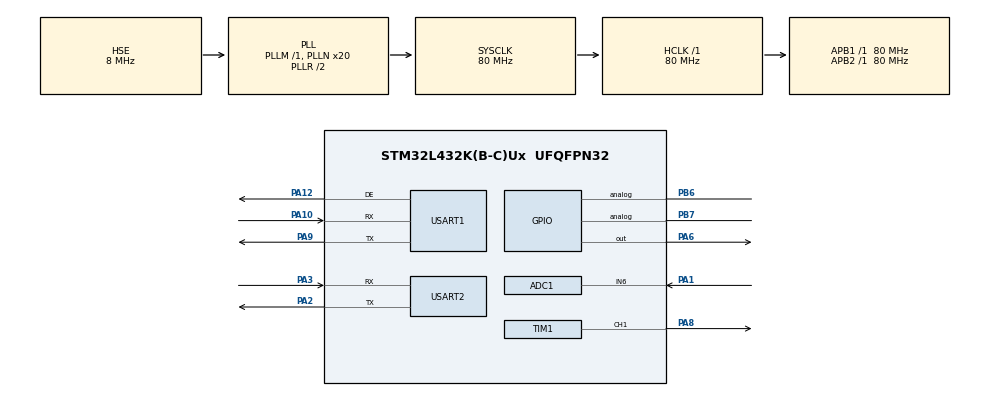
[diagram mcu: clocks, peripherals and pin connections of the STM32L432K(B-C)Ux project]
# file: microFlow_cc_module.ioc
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ADC1.Channel-0\#ChannelRegularConversion=ADC_CHANNEL_6
ADC1.NbrOfConversionFlag=1
ADC1.OffsetNumber-0\#ChannelRegularConversion=ADC_OFFSET_NONE
ADC1.Rank-0\#ChannelRegularConversion=1
ADC1.SamplingTime-0\#ChannelRegularConversion=ADC_SAMPLETIME_2CYCLES_5
ADC1.master=1
FREERTOS.Tasks01=defaultTask,0,128,StartDefaultTask,Default,NULL,Dynamic,NULL,NULL;atuoFlowTask,-3,256,StartFlowTask,Default,NULL,Dynamic,NULL,NULL;modbusTask,-3,256,StartModbusTask,Default,NULL,Dynamic,NULL,NULL
Mcu.Family=STM32L4
Mcu.Name=STM32L432K(B-C)Ux
Mcu.Package=UFQFPN32
NVIC.PriorityGroup=NVIC_PRIORITYGROUP_4
NVIC.TIM1_UP_TIM16_IRQn=true\:5\:0\:false\:false\:true\:true\:true\:true\:true
NVIC.TIM7_IRQn=true\:5\:0\:false\:false\:true\:true\:true\:true\:true
NVIC.USART1_IRQn=true\:5\:0\:false\:false\:true\:true\:true\:true\:true
NVIC.USART2_IRQn=true\:5\:0\:false\:false\:true\:true\:true\:true\:true
PA0.Mode=HSE-External-Clock-Source-for-LittleOrca
PA0.Signal=RCC_CK_IN
PA1.Signal=ADCx_IN6
PA10.Mode=Asynchronous
PA10.Signal=USART1_RX
PA12.Mode=Hardware Flow Control (RS485)
PA12.Signal=USART1_DE
PA13\ (JTMS-SWDIO).Mode=Serial_Wire
PA13\ (JTMS-SWDIO).Signal=SYS_JTMS-SWDIO
PA14\ (JTCK-SWCLK).Mode=Serial_Wire
PA14\ (JTCK-SWCLK).Signal=SYS_JTCK-SWCLK
PA2.Mode=Asynchronous
PA2.Signal=USART2_TX
PA3.Mode=Asynchronous
PA3.Signal=USART2_RX
PA6.Signal=GPIO_Output
PA8.Signal=S_TIM1_CH1
PA9.Mode=Asynchronous
PA9.Signal=USART1_TX
PB6.Signal=GPIO_Analog
PB7.Signal=GPIO_Analog
ProjectManager.HeapSize=0x200
ProjectManager.StackSize=0x400
ProjectManager.TargetToolchain=STM32CubeIDE
RCC.ADCFreq_Value=32000000
RCC.AHBFreq_Value=80000000
RCC.APB1Freq_Value=80000000
RCC.APB1TimFreq_Value=80000000
RCC.APB2Freq_Value=80000000
RCC.APB2TimFreq_Value=80000000
RCC.CortexFreq_Value=80000000
RCC.HCLKFreq_Value=80000000
RCC.HSE_VALUE=8000000
RCC.HSI48_VALUE=48000000
RCC.HSI_VALUE=16000000
RCC.LSE_VALUE=32768
RCC.MSI_VALUE=4000000
RCC.PLLN=20
RCC.PLLSourceVirtual=RCC_PLLSOURCE_HSE
RCC.SYSCLKFreq_VALUE=80000000
RCC.SYSCLKSource=RCC_SYSCLKSOURCE_PLLCLK
RCC.USBFreq_Value=32000000
RCC.VCOOutputFreq_Value=160000000
SH.ADCx_IN6.0=ADC1_IN6,IN6-Single-Ended
SH.S_TIM1_CH1.0=TIM1_CH1,PWM Generation1 CH1
TIM1.AutoReloadPreload=TIM_AUTORELOAD_PRELOAD_ENABLE
TIM1.Channel-PWM\ Generation1\ CH1=TIM_CHANNEL_1
TIM1.Period=39999
TIM1.Prescaler=1
TIM16.AutoReloadPreload=TIM_AUTORELOAD_PRELOAD_ENABLE
TIM16.Period=1000
TIM16.Prescaler=8000-1
TIM7.Period=80-1
TIM7.Prescaler=4000-1
TIM7.TIM_MasterOutputTrigger=TIM_TRGO_UPDATE
USART1.VirtualMode-Asynchronous=VM_ASYNC
USART1.VirtualMode-Hardware\ Flow\ Control\ (RS485)=VM_ASYNC
USART2.VirtualMode-Asynchronous=VM_ASYNC
VP_FREERTOS_VS_CMSIS_V1.Mode=CMSIS_V1
VP_TIM16_VS_ClockSourceINT.Mode=Enable_Timer
VP_TIM7_VS_ClockSourceINT.Mode=Enable_Timer
board=custom

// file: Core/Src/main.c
/* USER CODE BEGIN Header */
/**
  ******************************************************************************
  * @file           : main.c
  * @brief          : Main program body
  ******************************************************************************
  * @attention
  *
  * Copyright (c) 2026 STMicroelectronics.
  * All rights reserved.
  *
  * This software is licensed under terms that can be found in the LICENSE file
  * in the root directory of this software component.
  * If no LICENSE file comes with this software, it is provided AS-IS.
  *
  ******************************************************************************
  */
/* USER CODE END Header */
#include "main.h"
#include "cmsis_os.h"

/* USER CODE BEGIN Includes */
#include "modbus.h"
#include "app.h"
#include "pid.h"
#include "flow_ramp.h"
#include "parameter_storage.h"
#include "flow_scale.h"
#include <math.h>
#include <string.h>
/* USER CODE END Includes */

/* USER CODE BEGIN PD */

#define FLOW_ADC_VREF_V          3.3f
#define FLOW_ADC_FULL_SCALE      4095.0f
#define FLOW_ADC_ERROR_VALUE     (-1.0f)

/* ---- 恒流闭环参数(依据附录A实测整定) ---- */
#define FLOW_TASK_PERIOD_MS      100U                            /* 控制周期 ms */
#define FLOW_TASK_DT_S           (FLOW_TASK_PERIOD_MS / 1000.0f) /* 控制周期 s */
#define FLOW_ADC_SAMPLE_COUNT    20U     /* ADC中值滤波固定采样次数 */
#define FLOW_PID_OUT_MIN         20.0f   /* 实测20~30%仍有响应，允许PID在此区间调节 */
#define FLOW_PID_OUT_MAX         99.0f   /* PID输出上限%(放开, 原70基于主回路分流分析) */
#define FLOW_PID_DEADBAND        0.1f    /* 死区 mL/min, 抑制阀门抖动 */
/* USER CODE END PD */

ADC_HandleTypeDef hadc1;

TIM_HandleTypeDef htim1;
TIM_HandleTypeDef htim7;
TIM_HandleTypeDef htim16;

UART_HandleTypeDef huart1;
UART_HandleTypeDef huart2;

osThreadId defaultTaskHandle;
osThreadId atuoFlowTaskHandle;
osThreadId modbusTaskHandle;

void SystemClock_Config(void);
static void MX_GPIO_Init(void);
static void MX_USART1_UART_Init(void);
static void MX_USART2_UART_Init(void);
static void MX_TIM7_Init(void);
static void MX_TIM16_Init(void);
static void MX_ADC1_Init(void);
static void MX_TIM1_Init(void);
void StartDefaultTask(void const * argument);
void StartFlowTask(void const * argument);
void StartModbusTask(void const * argument);

int main(void)
{

  /* MCU Configuration--------------------------------------------------------*/

  /* Reset of all peripherals, Initializes the Flash interface and the Systick. */
  HAL_Init();

  /* Configure the system clock */
  SystemClock_Config();

  /* Initialize all configured peripherals */
  MX_GPIO_Init();
  MX_USART1_UART_Init();
  MX_USART2_UART_Init();
  MX_TIM7_Init();
  MX_TIM16_Init();
  MX_ADC1_Init();
  MX_TIM1_Init();
  /* USER CODE BEGIN 2 */
  if (HAL_ADCEx_Calibration_Start(&hadc1, ADC_SINGLE_ENDED) != HAL_OK)
  {
    Error_Handler();
  }

  __HAL_TIM_SET_COMPARE(&htim1, TIM_CHANNEL_1, 0U);
  if (HAL_TIM_PWM_Start(&htim1, TIM_CHANNEL_1) != HAL_OK)
  {
    Error_Handler();
  }

  Modbus_Init();
  /* USER CODE END 2 */

  /* Create the thread(s) */
  /* definition and creation of defaultTask */
  osThreadDef(defaultTask, StartDefaultTask, osPriorityNormal, 0, 128);
  defaultTaskHandle = osThreadCreate(osThread(defaultTask), NULL);

  /* definition and creation of atuoFlowTask */
  osThreadDef(atuoFlowTask, StartFlowTask, osPriorityIdle, 0, 256);
  atuoFlowTaskHandle = osThreadCreate(osThread(atuoFlowTask), NULL);

  /* definition and creation of modbusTask */
  osThreadDef(modbusTask, StartModbusTask, osPriorityIdle, 0, 256);
  modbusTaskHandle = osThreadCreate(osThread(modbusTask), NULL);

  /* Start scheduler */
  osKernelStart();

  /* We should never get here as control is now taken by the scheduler */

  /* Infinite loop */
  while (1)
  {

  }
}

void SystemClock_Config(void)
{
  RCC_OscInitTypeDef RCC_OscInitStruct = {0};
  RCC_ClkInitTypeDef RCC_ClkInitStruct = {0};

  /** Configure the main internal regulator output voltage
  */
  if (HAL_PWREx_ControlVoltageScaling(PWR_REGULATOR_VOLTAGE_SCALE1) != HAL_OK)
  {
    Error_Handler();
  }

  /** Initializes the RCC Oscillators according to the specified parameters
  * in the RCC_OscInitTypeDef structure.
  */
  RCC_OscInitStruct.OscillatorType = RCC_OSCILLATORTYPE_HSE;
  RCC_OscInitStruct.HSEState = RCC_HSE_BYPASS;
  RCC_OscInitStruct.PLL.PLLState = RCC_PLL_ON;
  RCC_OscInitStruct.PLL.PLLSource = RCC_PLLSOURCE_HSE;
  RCC_OscInitStruct.PLL.PLLM = 1;
  RCC_OscInitStruct.PLL.PLLN = 20;
  RCC_OscInitStruct.PLL.PLLP = RCC_PLLP_DIV7;
  RCC_OscInitStruct.PLL.PLLQ = RCC_PLLQ_DIV2;
  RCC_OscInitStruct.PLL.PLLR = RCC_PLLR_DIV2;
  if (HAL_RCC_OscConfig(&RCC_OscInitStruct) != HAL_OK)
  {
    Error_Handler();
  }

  /** Initializes the CPU, AHB and APB buses clocks
  */
  RCC_ClkInitStruct.ClockType = RCC_CLOCKTYPE_HCLK|RCC_CLOCKTYPE_SYSCLK
                              |RCC_CLOCKTYPE_PCLK1|RCC_CLOCKTYPE_PCLK2;
  RCC_ClkInitStruct.SYSCLKSource = RCC_SYSCLKSOURCE_PLLCLK;
  RCC_ClkInitStruct.AHBCLKDivider = RCC_SYSCLK_DIV1;
  RCC_ClkInitStruct.APB1CLKDivider = RCC_HCLK_DIV1;
  RCC_ClkInitStruct.APB2CLKDivider = RCC_HCLK_DIV1;

  if (HAL_RCC_ClockConfig(&RCC_ClkInitStruct, FLASH_LATENCY_4) != HAL_OK)
  {
    Error_Handler();
  }
}

static void MX_ADC1_Init(void)
{

  ADC_ChannelConfTypeDef sConfig = {0};

  /** Common config
  */
  hadc1.Instance = ADC1;
  hadc1.Init.ClockPrescaler = ADC_CLOCK_ASYNC_DIV1;
  hadc1.Init.Resolution = ADC_RESOLUTION_12B;
  hadc1.Init.DataAlign = ADC_DATAALIGN_RIGHT;
  hadc1.Init.ScanConvMode = ADC_SCAN_DISABLE;
  hadc1.Init.EOCSelection = ADC_EOC_SINGLE_CONV;
  hadc1.Init.LowPowerAutoWait = DISABLE;
  hadc1.Init.ContinuousConvMode = DISABLE;
  hadc1.Init.NbrOfConversion = 1;
  hadc1.Init.DiscontinuousConvMode = DISABLE;
  hadc1.Init.ExternalTrigConv = ADC_SOFTWARE_START;
  hadc1.Init.ExternalTrigConvEdge = ADC_EXTERNALTRIGCONVEDGE_NONE;
  hadc1.Init.DMAContinuousRequests = DISABLE;
  hadc1.Init.Overrun = ADC_OVR_DATA_PRESERVED;
  hadc1.Init.OversamplingMode = DISABLE;
  if (HAL_ADC_Init(&hadc1) != HAL_OK)
  {
    Error_Handler();
  }

  /** Configure Regular Channel
  */
  sConfig.Channel = ADC_CHANNEL_6;
  sConfig.Rank = ADC_REGULAR_RANK_1;
  sConfig.SamplingTime = ADC_SAMPLETIME_2CYCLES_5;
  sConfig.SingleDiff = ADC_SINGLE_ENDED;
  sConfig.OffsetNumber = ADC_OFFSET_NONE;
  sConfig.Offset = 0;
  if (HAL_ADC_ConfigChannel(&hadc1, &sConfig) != HAL_OK)
  {
    Error_Handler();
  }

}

static void MX_TIM1_Init(void)
{

  TIM_MasterConfigTypeDef sMasterConfig = {0};
  TIM_OC_InitTypeDef sConfigOC = {0};
  TIM_BreakDeadTimeConfigTypeDef sBreakDeadTimeConfig = {0};

  htim1.Instance = TIM1;
  htim1.Init.Prescaler = 1;
  htim1.Init.CounterMode = TIM_COUNTERMODE_UP;
  htim1.Init.Period = 39999;
  htim1.Init.ClockDivision = TIM_CLOCKDIVISION_DIV1;
  htim1.Init.RepetitionCounter = 0;
  htim1.Init.AutoReloadPreload = TIM_AUTORELOAD_PRELOAD_ENABLE;
  if (HAL_TIM_PWM_Init(&htim1) != HAL_OK)
  {
    Error_Handler();
  }
  sMasterConfig.MasterOutputTrigger = TIM_TRGO_RESET;
  sMasterConfig.MasterOutputTrigger2 = TIM_TRGO2_RESET;
  sMasterConfig.MasterSlaveMode = TIM_MASTERSLAVEMODE_DISABLE;
  if (HAL_TIMEx_MasterConfigSynchronization(&htim1, &sMasterConfig) != HAL_OK)
  {
    Error_Handler();
  }
  sConfigOC.OCMode = TIM_OCMODE_PWM1;
  sConfigOC.Pulse = 0;
  sConfigOC.OCPolarity = TIM_OCPOLARITY_HIGH;
  sConfigOC.OCNPolarity = TIM_OCNPOLARITY_HIGH;
  sConfigOC.OCFastMode = TIM_OCFAST_DISABLE;
  sConfigOC.OCIdleState = TIM_OCIDLESTATE_RESET;
  sConfigOC.OCNIdleState = TIM_OCNIDLESTATE_RESET;
  if (HAL_TIM_PWM_ConfigChannel(&htim1, &sConfigOC, TIM_CHANNEL_1) != HAL_OK)
  {
    Error_Handler();
  }
  sBreakDeadTimeConfig.OffStateRunMode = TIM_OSSR_DISABLE;
  sBreakDeadTimeConfig.OffStateIDLEMode = TIM_OSSI_DISABLE;
  sBreakDeadTimeConfig.LockLevel = TIM_LOCKLEVEL_OFF;
  sBreakDeadTimeConfig.DeadTime = 0;
  sBreakDeadTimeConfig.BreakState = TIM_BREAK_DISABLE;
  sBreakDeadTimeConfig.BreakPolarity = TIM_BREAKPOLARITY_HIGH;
  sBreakDeadTimeConfig.BreakFilter = 0;
  sBreakDeadTimeConfig.Break2State = TIM_BREAK2_DISABLE;
  sBreakDeadTimeConfig.Break2Polarity = TIM_BREAK2POLARITY_HIGH;
  sBreakDeadTimeConfig.Break2Filter = 0;
  sBreakDeadTimeConfig.AutomaticOutput = TIM_AUTOMATICOUTPUT_DISABLE;
  if (HAL_TIMEx_ConfigBreakDeadTime(&htim1, &sBreakDeadTimeConfig) != HAL_OK)
  {
    Error_Handler();
  }
  HAL_TIM_MspPostInit(&htim1);

}

static void MX_TIM7_Init(void)
{

  TIM_MasterConfigTypeDef sMasterConfig = {0};

  htim7.Instance = TIM7;
  htim7.Init.Prescaler = 4000-1;
  htim7.Init.CounterMode = TIM_COUNTERMODE_UP;
  htim7.Init.Period = 80-1;
  htim7.Init.AutoReloadPreload = TIM_AUTORELOAD_PRELOAD_DISABLE;
  if (HAL_TIM_Base_Init(&htim7) != HAL_OK)
  {
    Error_Handler();
  }
  sMasterConfig.MasterOutputTrigger = TIM_TRGO_UPDATE;
  sMasterConfig.MasterSlaveMode = TIM_MASTERSLAVEMODE_DISABLE;
  if (HAL_TIMEx_MasterConfigSynchronization(&htim7, &sMasterConfig) != HAL_OK)
  {
    Error_Handler();
  }

}

static void MX_TIM16_Init(void)
{

  htim16.Instance = TIM16;
  htim16.Init.Prescaler = 8000-1;
  htim16.Init.CounterMode = TIM_COUNTERMODE_UP;
  htim16.Init.Period = 1000;
  htim16.Init.ClockDivision = TIM_CLOCKDIVISION_DIV1;
  htim16.Init.RepetitionCounter = 0;
  htim16.Init.AutoReloadPreload = TIM_AUTORELOAD_PRELOAD_ENABLE;
  if (HAL_TIM_Base_Init(&htim16) != HAL_OK)
  {
    Error_Handler();
  }

}

static void MX_USART1_UART_Init(void)
{

  huart1.Instance = USART1;
  huart1.Init.BaudRate = 115200;
  huart1.Init.WordLength = UART_WORDLENGTH_8B;
  huart1.Init.StopBits = UART_STOPBITS_1;
  huart1.Init.Parity = UART_PARITY_NONE;
  huart1.Init.Mode = UART_MODE_TX_RX;
  huart1.Init.HwFlowCtl = UART_HWCONTROL_NONE;
  huart1.Init.OverSampling = UART_OVERSAMPLING_16;
  huart1.Init.OneBitSampling = UART_ONE_BIT_SAMPLE_DISABLE;
  huart1.AdvancedInit.AdvFeatureInit = UART_ADVFEATURE_NO_INIT;
  if (HAL_RS485Ex_Init(&huart1, UART_DE_POLARITY_HIGH, 0, 0) != HAL_OK)
  {
    Error_Handler();
  }

}

static void MX_USART2_UART_Init(void)
{

  huart2.Instance = USART2;
  huart2.Init.BaudRate = 115200;
  huart2.Init.WordLength = UART_WORDLENGTH_8B;
  huart2.Init.StopBits = UART_STOPBITS_1;
  huart2.Init.Parity = UART_PARITY_NONE;
  huart2.Init.Mode = UART_MODE_TX_RX;
  huart2.Init.HwFlowCtl = UART_HWCONTROL_NONE;
  huart2.Init.OverSampling = UART_OVERSAMPLING_16;
  huart2.Init.OneBitSampling = UART_ONE_BIT_SAMPLE_DISABLE;
  huart2.AdvancedInit.AdvFeatureInit = UART_ADVFEATURE_NO_INIT;
  if (HAL_UART_Init(&huart2) != HAL_OK)
  {
    Error_Handler();
  }

}

static void MX_GPIO_Init(void)
{
  GPIO_InitTypeDef GPIO_InitStruct = {0};

  /* GPIO Ports Clock Enable */
  __HAL_RCC_GPIOA_CLK_ENABLE();
  __HAL_RCC_GPIOB_CLK_ENABLE();

  /*Configure GPIO pin Output Level */
  HAL_GPIO_WritePin(GPIOA, GPIO_PIN_6, GPIO_PIN_RESET);

  /*Configure GPIO pin : PA6 */
  GPIO_InitStruct.Pin = GPIO_PIN_6;
  GPIO_InitStruct.Mode = GPIO_MODE_OUTPUT_PP;
  GPIO_InitStruct.Pull = GPIO_NOPULL;
  GPIO_InitStruct.Speed = GPIO_SPEED_FREQ_LOW;
  HAL_GPIO_Init(GPIOA, &GPIO_InitStruct);

  /*Configure GPIO pins : PB6 PB7 */
  GPIO_InitStruct.Pin = GPIO_PIN_6|GPIO_PIN_7;
  GPIO_InitStruct.Mode = GPIO_MODE_ANALOG;
  GPIO_InitStruct.Pull = GPIO_NOPULL;
  HAL_GPIO_Init(GPIOB, &GPIO_InitStruct);

}

/* USER CODE BEGIN 4 */

/**
  * @author Bo
  * @date   Created: 2026-08-10
  * @date   Modified: 2026-08-10
  * @brief  Read one sample from the analog flow-meter input.
  * @param  raw Pointer used to return the 12-bit ADC result.
  * @retval HAL status.
  */
HAL_StatusTypeDef FlowAdc_ReadRaw(uint16_t *raw)
{
  HAL_StatusTypeDef status;
  HAL_StatusTypeDef stopStatus;

  if (raw == NULL)
  {
    return HAL_ERROR;
  }

  status = HAL_ADC_Start(&hadc1);
  if (status != HAL_OK)
  {
    return status;
  }

  status = HAL_ADC_PollForConversion(&hadc1, 10U);
  if (status == HAL_OK)
  {
    *raw = (uint16_t)HAL_ADC_GetValue(&hadc1);
  }

  stopStatus = HAL_ADC_Stop(&hadc1);
  if (status == HAL_OK)
  {
    status = stopStatus;
  }

  return status;
}

/**
  * @author Bo
  * @date   Created: 2026-08-10
  * @date   Modified: 2026-08-10
  * @brief  Read and average multiple ADC samples.
  * @param  num Number of samples to average; must be greater than zero.
  * @retval Average ADC code, or FLOW_ADC_ERROR_VALUE on failure.
  */
float getAdcAverage(uint16_t num)
{
  uint32_t sum = 0U;
  uint16_t raw;
  uint16_t index;

  if (num == 0U)
  {
    return FLOW_ADC_ERROR_VALUE;
  }

  for (index = 0U; index < num; index++)
  {
    if (FlowAdc_ReadRaw(&raw) != HAL_OK)
    {
      return FLOW_ADC_ERROR_VALUE;
    }

    sum += raw;
  }

  return (float)sum / (float)num;
}

/**
  * @author Bo
  * @date   Created: 2026-08-10
  * @date   Modified: 2026-08-10
  * @brief  Read the averaged voltage of the analog flow-meter input.
  * @param  num Number of ADC samples to average.
  * @retval Input voltage in volts, or FLOW_ADC_ERROR_VALUE on failure.
  */
float getAdcVoltage(uint16_t num)
{
  float adcAverage = getAdcAverage(num);

  if (adcAverage < 0.0f)
  {
    return FLOW_ADC_ERROR_VALUE;
  }

  return adcAverage * FLOW_ADC_VREF_V / FLOW_ADC_FULL_SCALE;
}

/**
  * @author Bo
  * @date   Created: 2026-08-11
  * @brief  读取流量计电压(固定20次采样 + 修剪均值滤波)
  * @retval 输入电压(V), 或 FLOW_ADC_ERROR_VALUE
  * @note   去1个最大1个最小后求平均, 比单纯均值更抗脉冲干扰;
  *         采样次数由 FLOW_ADC_SAMPLE_COUNT 固定, 不受寄存器控制
  */
float getAdcVoltageMedian(void)
{
  uint32_t sum = 0U;
  uint16_t maxv = 0U;
  uint16_t minv = 0xFFFFU;
  uint16_t raw;
  uint16_t i;

  for (i = 0U; i < FLOW_ADC_SAMPLE_COUNT; i++)
  {
    if (FlowAdc_ReadRaw(&raw) != HAL_OK)
    {
      return FLOW_ADC_ERROR_VALUE;
    }
    sum += raw;
    if (raw > maxv)
    {
      maxv = raw;
    }
    if (raw < minv)
    {
      minv = raw;
    }
  }

  /* 修剪均值: 去最大最小后平均剩余 (FLOW_ADC_SAMPLE_COUNT-2) 个 */
  sum = sum - (uint32_t)maxv - (uint32_t)minv;
  return ((float)sum / (float)(FLOW_ADC_SAMPLE_COUNT - 2U)) *
         FLOW_ADC_VREF_V / FLOW_ADC_FULL_SCALE;
}

/**
  * @author Bo
  * @date   Created: 2026-08-10
  * @date   Modified: 2026-08-10
  * @brief  Convert the averaged ADC voltage to flow using two-point scaling.
  * @param  num Number of ADC samples to average.
  * @param  flowZero Flow value at the zero-point voltage.
  * @param  flowFullScale Flow value at the full-scale voltage.
  * @param  voltageZero Voltage corresponding to flowZero.
  * @param  voltageFullScale Voltage corresponding to flowFullScale.
  * @retval Converted flow, or FLOW_ADC_ERROR_VALUE on failure.
  * @note   The result is not clamped to the configured flow range.
  */
float getFlow(uint16_t num, float flowZero, float flowFullScale,
              float voltageZero, float voltageFullScale)
{
  float voltage;

  if (voltageFullScale == voltageZero)
  {
    return FLOW_ADC_ERROR_VALUE;
  }

  voltage = getAdcVoltage(num);
  if (voltage < 0.0f)
  {
    return FLOW_ADC_ERROR_VALUE;
  }

  return flowZero + (voltage - voltageZero) *
         (flowFullScale - flowZero) /
         (voltageFullScale - voltageZero);
}

/**
  * @author Bo
  * @date   Created: 2026-08-10
  * @date   Modified: 2026-08-10
  * @brief  Set the valve PWM duty cycle on PA8/TIM1_CH1.
  * @param  dutyPercent Requested duty cycle in percent.
  * @retval None.
  * @note   Values outside 0...100 percent are clamped to that range.
  */
void Valve_SetDuty(float dutyPercent)
{
  uint32_t period;
  uint32_t compare;

  if (dutyPercent < 0.0f)
  {
    dutyPercent = 0.0f;
  }
  else if (dutyPercent > 100.0f)
  {
    dutyPercent = 100.0f;
  }

  period = __HAL_TIM_GET_AUTORELOAD(&htim1) + 1U;
  compare = (uint32_t)(((float)period * dutyPercent / 100.0f) + 0.5f);

  if (compare > period)
  {
    compare = period;
  }

  __HAL_TIM_SET_COMPARE(&htim1, TIM_CHANNEL_1, compare);
}

/* ======================== 恒流闭环(StartFlowTask拆分) ======================== */
/* 文件级状态: 避免向子函数传参, 任务体保持简洁 */
static PID_Controller_t s_flowPid;           /* PID实例(Kp/Ki/Kd在线传入) */
static uint16_t s_prevManualMode = 1U;       /* 上电恢复0/2时触发初始化；首次出厂默认1 */
static FlowRamp s_ramp;
static FLOW_RAMP_CONFIG_T s_rampConfig;
static uint32_t s_controlTick;
static float s_lastDuty;
static float s_voltFiltered = 0.0f;          /* 一阶低通后的电压 */
static uint8_t s_voltFilterInit = 0U;        /* 电压滤波器首次初始化标志 */

/**
  * @brief  采样流量计: 固定20次中值滤波 + filterFactor一阶低通 + 两点标定
  * @retval 滤波后流量 PV; <0 表示 ADC 失败(调用方应保持上次输出)
  * @note   filterFactor(寄存器48005, 0~1) 关联电压/流量/自动模式滤波三者:
  *         电压经一阶低通->flowRateVoltageAve; 流量由滤波电压换算->flowRateAve(PV)
  */
static float FlowSensor_Sample(void)
{
  float voltageRaw;
  float alpha;

  /* 固定20次修剪均值滤波(去最大最小), 抗脉冲干扰 */
  voltageRaw = getAdcVoltageMedian();
  if (voltageRaw < 0.0f)
  {
    return FLOW_ADC_ERROR_VALUE;            /* ADC失败: 通知调用方保持上次输出 */
  }

  /* filterFactor 一阶低通系数(寄存器48005, 范围0~1); 越界保护为无滤波 */
  alpha = rsvd_param.filterFactor;
  if (!isfinite(alpha) || alpha <= 0.0f || alpha >= 1.0f)
  {
    alpha = 1.0f;
  }

  /* 电压一阶低通 -> flowRateVoltageAve (首次直接赋值, 避免从0慢爬) */
  if (s_voltFilterInit == 0U)
  {
    s_voltFiltered = voltageRaw;
    s_voltFilterInit = 1U;
  }
  else
  {
    s_voltFiltered = alpha * voltageRaw + (1.0f - alpha) * s_voltFiltered;
  }
  rsvd_param.flowRateVoltageAve = s_voltFiltered;

  /* 流量由滤波电压换算(与电压同源, 保证一致) -> flowRateAve (PID的PV) */
  if (!FlowScale_Convert(rsvd_param.flowScaleModel, s_voltFiltered,
                         rsvd_param.lowFlow, rsvd_param.highFlow,
                         rsvd_param.lowFlowVoltage, rsvd_param.highFlowVoltage,
                         rsvd_param.flowFullScale, &rsvd_param.flowRateAve))
  {
    return FLOW_ADC_ERROR_VALUE; /* Invalid calibration is not a zero-flow reading. */
  }
  return rsvd_param.flowRateAve;
}

/**
  * @brief  流量闭环控制: 模式切换无扰 + 手动/PID控制律 + PWM输出
  * @param  pv 滤波后流量; 无效时自动模式保持输出，手动模式仍执行开度指令
  */
static void FlowRamp_Publish(void)
{
  taskENTER_CRITICAL();
  rsvd_param.rampState = s_ramp.state;
  rsvd_param.rampFault = s_ramp.fault;
  rsvd_param.rampTarget = s_ramp.target;
  rsvd_param.rampElapsedMs = s_ramp.elapsedMs;
  rsvd_param.rampHoldMs = s_ramp.holdMs;
  rsvd_param.rampStableMs = s_ramp.stableMs;
  rsvd_param.rampLimitMs = s_ramp.limitMs;
  rsvd_param.rampCycles = s_ramp.cycles;
  taskEXIT_CRITICAL();
}

static void FlowControl_Run(float pv)
{
  float duty;
  uint16_t mode = rsvd_param.manualMode;
  uint32_t now = HAL_GetTick();
  uint32_t dtMs = now - s_controlTick; /* Handles HAL tick wrap. */
  int valid = isfinite(pv) && pv >= 0.0f;
  s_controlTick = now;

  if (mode != s_prevManualMode)
  {
    if (mode == 2U)
    {
      taskENTER_CRITICAL();
      RsvdParam_GetRamp(&rsvd_param, &s_rampConfig);
      taskEXIT_CRITICAL();
      FlowRamp_Start(&s_ramp, &s_rampConfig);
      dtMs = 0U;
    }
    else
    {
      memset(&s_ramp, 0, sizeof(s_ramp));
    }
    s_flowPid.outMin = mode == 2U && s_ramp.fault == RAMP_OK ?
                        s_ramp.config.rampValveMin : FLOW_PID_OUT_MIN;
    s_flowPid.outMax = mode == 2U && s_ramp.fault == RAMP_OK ?
                        s_ramp.config.rampValveMax : FLOW_PID_OUT_MAX;
    s_flowPid.deadband = mode == 2U && s_ramp.fault == RAMP_OK ?
                        fminf(FLOW_PID_DEADBAND, s_ramp.config.rampTolerance) :
                        FLOW_PID_DEADBAND;
    if (mode == 0U || mode == 2U) PID_Reset(&s_flowPid, s_lastDuty);
    s_prevManualMode = mode;
  }

  if (mode == 2U)
  {
    /* Deadlines must advance even when ADC acquisition fails. */
    FlowRamp_Update(&s_ramp, dtMs, pv, valid, s_lastDuty);
  }
  FlowRamp_Publish();

  /* A manual takeover must work even if the flow sensor fails. Automatic modes
   * hold the last output on invalid feedback; ramp faults latch until mode exit. */
  if ((mode != 1U && !valid) || (mode == 2U && s_ramp.fault != RAMP_OK) || mode > 2U)
  {
    rsvd_param.valveOpening = s_lastDuty;
    Valve_SetDuty(s_lastDuty);
    return;
  }

  if (mode == 1U)
  {
    duty = rsvd_param.valveOpening;
  }
  else
  {
    duty = PID_Compute(&s_flowPid,
                       rsvd_param.PID_P, rsvd_param.PID_I, rsvd_param.PID_D,
                       mode == 2U ? s_ramp.target : rsvd_param.flowRateSet,
                       pv, FLOW_TASK_DT_S);
  }
  if (!isfinite(duty)) duty = s_lastDuty;
  if (duty < 0.0f) duty = 0.0f;
  if (duty > 100.0f) duty = 100.0f;
  s_lastDuty = duty;
  rsvd_param.valveOpening = duty;
  Valve_SetDuty(duty);
}

/* USER CODE END 4 */

void StartDefaultTask(void const * argument)
{
  /* USER CODE BEGIN 5 */
  /* Infinite loop */
  for(;;)
  {
    osDelay(100);
  }
  /* USER CODE END 5 */
}

void StartFlowTask(void const * argument)
{
  /* USER CODE BEGIN StartFlowTask */
  float pv;

  /* 初始化PID: 仅限幅/死区配置; Kp/Ki/Kd每次从寄存器读取 */
  PID_Init(&s_flowPid, FLOW_PID_OUT_MIN, FLOW_PID_OUT_MAX, FLOW_PID_DEADBAND);
  s_controlTick = HAL_GetTick();
  s_lastDuty = rsvd_param.valveOpening;
  if (!isfinite(s_lastDuty)) s_lastDuty = 30.0f;
  if (s_lastDuty < 0.0f) s_lastDuty = 0.0f;
  if (s_lastDuty > 100.0f) s_lastDuty = 100.0f;

  /* Infinite loop */
  for(;;)
  {
    pv = FlowSensor_Sample();    /* 采样+标定+低通, 更新 flowRateAve/VoltageAve */
    FlowControl_Run(pv);         /* 模式切换无扰 + 手动/PID控制律 + PWM输出 */
    osDelay(FLOW_TASK_PERIOD_MS);
  }
  /* USER CODE END StartFlowTask */
}

void StartModbusTask(void const * argument)
{
  /* USER CODE BEGIN StartModbusTask */
  (void)argument;

  /* Infinite loop - Modbus RTU 协议轮询 + 命令处理 */
  for(;;)
  {
    eMBPoll();
    MB_PortAfterPoll();
    MeasureFunc();        /* autoSavePending 检测 + 命令分发 */
    osDelay(1);
  }
  /* USER CODE END StartModbusTask */
}

void Error_Handler(void)
{
  __disable_irq();
  while (1)
  {
  }
}
